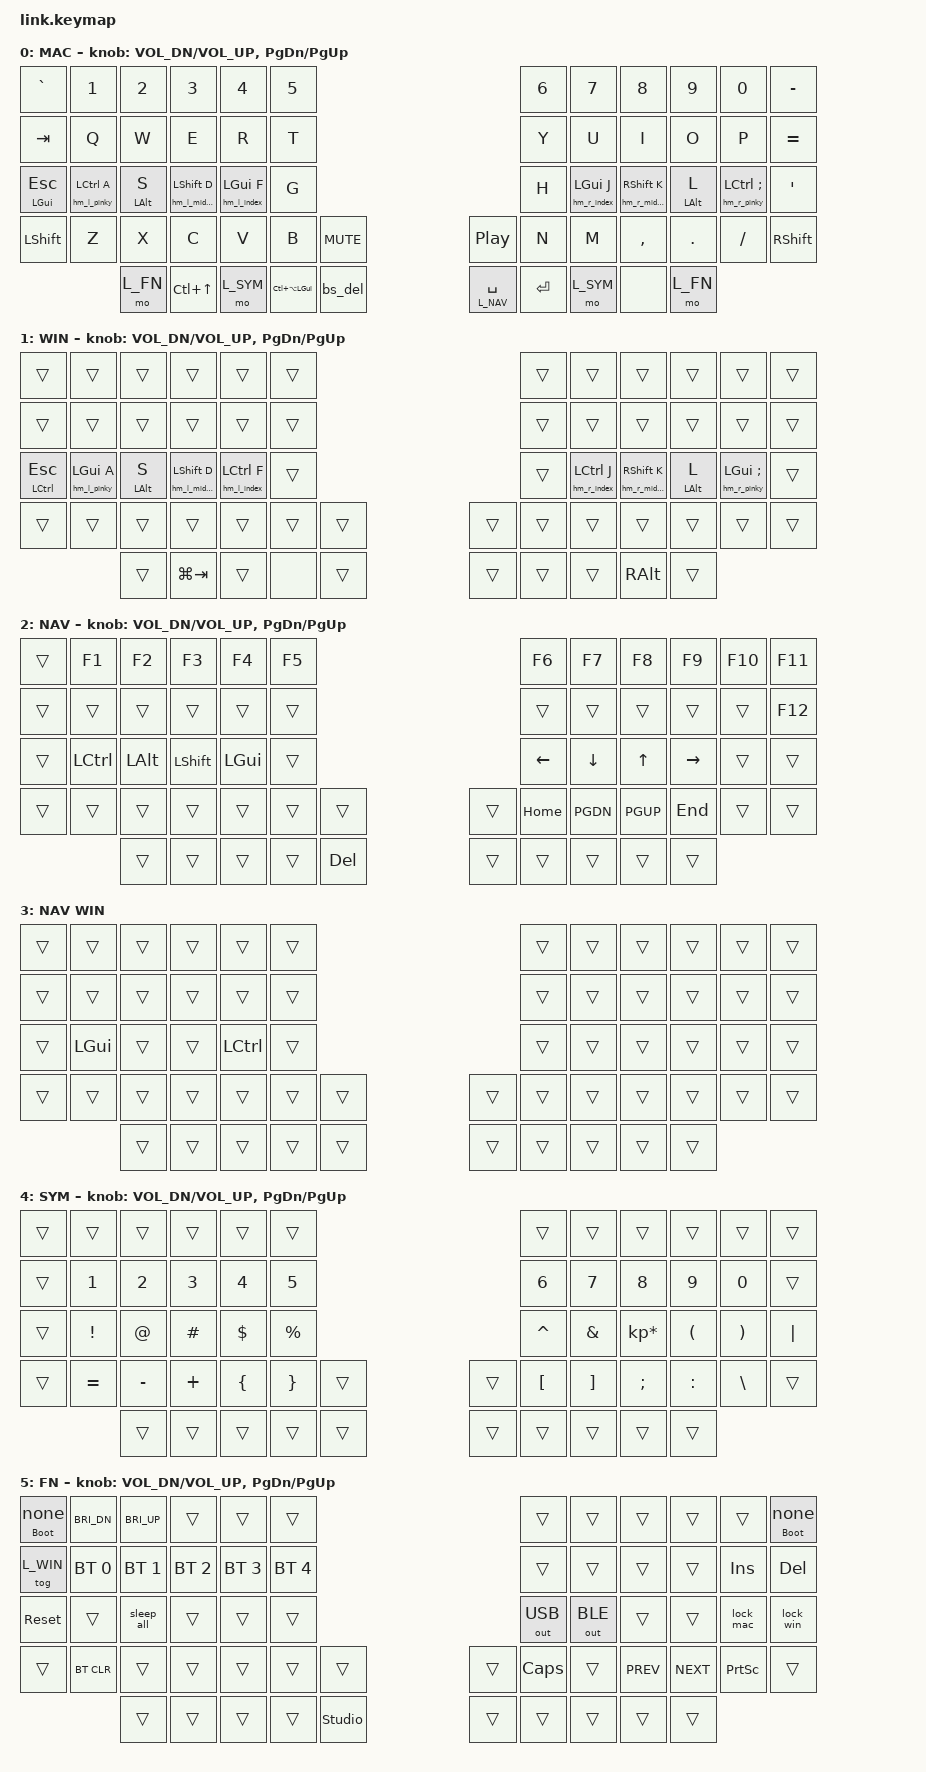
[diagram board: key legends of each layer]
/*
 * Copyright (c) 2020 The ZMK Contributors
 *
 * SPDX-License-Identifier: MIT
 */

#include <behaviors.dtsi>
#include <dt-bindings/zmk/keys.h>
#include <dt-bindings/zmk/bt.h>
#include <dt-bindings/zmk/outputs.h>

// Layer indices. A higher index wins; &trans falls through to the layer below.
// MAC (default layer, always active) is the base. WIN sits directly above it and
// only overrides OS-dependent keys; every other position falls through to MAC.
// NAV_WIN is never selected by a key: it is on while WIN and NAV are both on
// (see conditional_layers).
#define L_MAC     0
#define L_WIN     1
#define L_NAV     2
#define L_NAV_WIN 3
#define L_SYM     4
#define L_FN      5

// Key positions for positional hold-taps (indices into the bindings lists).
#define POS_LEFT   0 1 2 3 4 5 12 13 14 15 16 17 24 25 26 27 28 29 36 37 38 39 40 41
#define POS_RIGHT  6 7 8 9 10 11 18 19 20 21 22 23 30 31 32 33 34 35 44 45 46 47 48 49
#define POS_THUMBS 50 51 52 53 54 55 56 57 58 59
#define POS_ENCODERS 42 43

// Keys that may turn a home row mod into a hold, mirroring QMK Chordal Hold: the other hand
// and the keys QMK marks '*' (thumbs, here also the encoder clicks).
#define HRM_TRIGGERS_L POS_RIGHT POS_THUMBS POS_ENCODERS
#define HRM_TRIGGERS_R POS_LEFT POS_THUMBS POS_ENCODERS

// Properties shared by every home row mod. Flavor, term, typing guard and trigger positions
// are set per node below. hold-trigger-on-release judges the first key *released* while the
// mod is undecided, like QMK Chordal Hold on a nested tap: a same-hand key (J, then K tapped)
// gives taps, while same-side mods still stack (hold D+F, tap J = Shift+Cmd+J). Unlike QMK, a
// same-hand key still held when the term ends gives the hold. No retro-tap: it would hold
// back the mod after the term, so mod + mouse click would not work.
#define HRM_COMMON \
    compatible = "zmk,behavior-hold-tap"; \
    bindings = <&kp>, <&kp>; \
    quick-tap-ms = <175>; \
    hold-trigger-on-release;

#define LINK_MEGA &kp LC(LA(LGUI))
#define LINK_STUDIO &studio_unlock
#define LINK_MULT &kp KP_MULTIPLY
#define LINK_BT1 &bt BT_SEL 0
#define LINK_BT2 &bt BT_SEL 1
#define LINK_BT3 &bt BT_SEL 2
#define LINK_BT4 &bt BT_SEL 3
#define LINK_BT5 &bt BT_SEL 4
#define LINK_USB &out OUT_USB
#define LINK_BLE &out OUT_BLE
#define LINK_BRI_DN &kp C_BRI_DN
#define LINK_BRI_UP &kp C_BRI_UP
#define LINK_SPC &lt_spc L_NAV SPACE
#define LINK_BOOT &boot_hold 0 0

// Home row mods and the Esc key on the Caps Lock position. Shared by MAC and WIN where the
// modifier is the same (S, D, K, L); otherwise _M is MAC (Mac order) and _W is WIN.
#define LINK_ESC_M &mt LGUI ESC
#define LINK_ESC_W &mt LCTRL ESC
#define LINK_A_M &hm_l_pinky LCTRL A
#define LINK_A_W &hm_l_pinky LGUI A
#define LINK_S &hm_l_ring LALT S
#define LINK_D &hm_l_middle LSHFT D
#define LINK_F_M &hm_l_index LGUI F
#define LINK_F_W &hm_l_index LCTRL F
#define LINK_J_M &hm_r_index LGUI J
#define LINK_J_W &hm_r_index LCTRL J
#define LINK_K &hm_r_middle RSHFT K
#define LINK_L &hm_r_ring LALT L
#define LINK_SC_M &hm_r_pinky LCTRL SEMI
#define LINK_SC_W &hm_r_pinky LGUI SEMI

// Caps Word as close to the QMK boards as stock ZMK v0.3 allows. Letters are shifted;
// digits, Backspace, Delete and minus keep it on, with or without either Shift, so
// `_` (Shift + minus) continues as on QMK. Any other key ends it.
// Not reproducible without a ZMK fork: QMK shifts a plain `-` to `_`
// (and CAPS_WORD_INVERT_ON_SHIFT unshifts letters and `-`), ends Caps Word on
// Ctrl/Alt/GUI chords and after 5 s idle.
&caps_word {
    continue-list = <MINUS BACKSPACE DELETE>;
};

/ {
    // QMK-style home row mods. Usage: &hm_<hand>_<finger> <hold keycode> <tap keycode>.
    // Mirrors the QMK boards' per-finger settings: index and middle 200 ms with permissive
    // hold (ZMK balanced); ring 300 ms and pinky 400 ms without it (ZMK tap-preferred: hold
    // only after the term). require-prior-idle-ms is QMK's 150 ms flow tap, left off the middle
    // (Shift) fingers as in QMK's is_flow_tap_key.
    behaviors {
        hm_l_pinky: hm_l_pinky {
            HRM_COMMON
            #binding-cells = <2>;
            flavor = "tap-preferred";
            tapping-term-ms = <400>;
            require-prior-idle-ms = <150>;
            hold-trigger-key-positions = <HRM_TRIGGERS_L>;
        };
        hm_l_ring: hm_l_ring {
            HRM_COMMON
            #binding-cells = <2>;
            flavor = "tap-preferred";
            tapping-term-ms = <300>;
            require-prior-idle-ms = <150>;
            hold-trigger-key-positions = <HRM_TRIGGERS_L>;
        };
        hm_l_middle: hm_l_middle {
            HRM_COMMON
            #binding-cells = <2>;
            flavor = "balanced";
            tapping-term-ms = <200>;
            hold-trigger-key-positions = <HRM_TRIGGERS_L>;
        };
        hm_l_index: hm_l_index {
            HRM_COMMON
            #binding-cells = <2>;
            flavor = "balanced";
            tapping-term-ms = <200>;
            require-prior-idle-ms = <150>;
            hold-trigger-key-positions = <HRM_TRIGGERS_L>;
        };

        hm_r_index: hm_r_index {
            HRM_COMMON
            #binding-cells = <2>;
            flavor = "balanced";
            tapping-term-ms = <200>;
            require-prior-idle-ms = <150>;
            hold-trigger-key-positions = <HRM_TRIGGERS_R>;
        };
        hm_r_middle: hm_r_middle {
            HRM_COMMON
            #binding-cells = <2>;
            flavor = "balanced";
            tapping-term-ms = <200>;
            hold-trigger-key-positions = <HRM_TRIGGERS_R>;
        };
        hm_r_ring: hm_r_ring {
            HRM_COMMON
            #binding-cells = <2>;
            flavor = "tap-preferred";
            tapping-term-ms = <300>;
            require-prior-idle-ms = <150>;
            hold-trigger-key-positions = <HRM_TRIGGERS_R>;
        };
        hm_r_pinky: hm_r_pinky {
            HRM_COMMON
            #binding-cells = <2>;
            flavor = "tap-preferred";
            tapping-term-ms = <400>;
            require-prior-idle-ms = <150>;
            hold-trigger-key-positions = <HRM_TRIGGERS_R>;
        };

        // QMK SLP: lock the host. Single modifier-chord keycodes, so the host
        // sees a real chord. On FN: the left key locks macOS, the right one Windows.
        lock_win: lock_win {
            compatible = "zmk,behavior-macro";
            #binding-cells = <0>;
            bindings = <&kp LG(L)>;
        };
        lock_mac: lock_mac {
            compatible = "zmk,behavior-macro";
            #binding-cells = <0>;
            bindings = <&kp LC(LG(Q))>;
        };

        // Shift + Backspace = Delete (either Shift, including the home row Shift mods).
        // keep-mods is deliberately omitted so Shift is not forwarded: Shift+Delete is
        // "delete permanently" in Windows Explorer.
        bs_del: backspace_delete {
            compatible = "zmk,behavior-mod-morph";
            #binding-cells = <0>;
            bindings = <&kp BSPC>, <&kp DEL>;
            mods = <(MOD_LSFT|MOD_RSFT)>;
        };

        // Space on tap, NAV on hold. balanced: another key pressed and released while Space is
        // down selects NAV (QMK: LT(layer, KC_SPC) with PERMISSIVE_HOLD). No typing guard and no
        // positional check on Space (QMK marks the thumbs '*'). retro-tap: held alone and
        // released, it still types a space (QMK RETRO_TAPPING).
        lt_spc: lt_spc {
            compatible = "zmk,behavior-hold-tap";
            #binding-cells = <2>;
            bindings = <&mo>, <&kp>;
            flavor = "balanced";
            tapping-term-ms = <200>;
            quick-tap-ms = <175>;
            retro-tap;
        };

        // Bootloader behind a 2 s hold; a shorter press does nothing. tap-preferred, so only
        // the timer can trigger it, never another key. The hold-tap passes on which half the
        // key is on, so each key puts its own half into the bootloader (the right half only
        // while it is connected to the left). The parameters are unused: &boot_hold 0 0.
        boot_hold: boot_hold {
            compatible = "zmk,behavior-hold-tap";
            #binding-cells = <2>;
            bindings = <&bootloader>, <&none>;
            flavor = "tap-preferred";
            tapping-term-ms = <2000>;
        };

        // Deep sleep for both halves. &soft_off is the one stock behavior that acts on both
        // halves at once (the right half on its press, the left on its release). It is sent
        // by this macro 1 s after the key is let go, not by the key itself: by then FN and
        // every other key is up, so no half powers off with a key held (a held key would wake
        // it again at once) and nothing depends on key releases from a half that is already
        // off. tap-ms leaves time for the command to reach the right half.
        sleep_all: sleep_all {
            compatible = "zmk,behavior-macro";
            #binding-cells = <0>;
            tap-ms = <200>;
            bindings = <&macro_pause_for_release>, <&macro_wait_time 1000>,
                       <&macro_tap &soft_off>;
        };
    };

    combos {
        compatible = "zmk,combos";

        // Both Shifts together turn on Caps Word (QMK: BOTH_SHIFTS_TURNS_ON_CAPS_WORD).
        combo_caps_word {
            bindings = <&caps_word>;
            key-positions = <36 49>;
            timeout-ms = <30>;
            require-prior-idle-ms = <150>;
        };
    };

    keymap {
        compatible = "zmk,keymap";

        // Default layer. The home row carries the modifiers (Ctrl, Option, Shift, Cmd | Cmd,
        // Shift, Option, Ctrl), so the thumbs carry none. Thumb row, mirrored around the two big
        // inner keys: Backspace (Shift = Delete) and Space (hold = NAV); then MEGA (holds
        // Ctrl+Option+Cmd, no tap, for workspace switching with the left hand: 1-5, Q-T, A-G,
        // Z-B) and Enter; SYM on both hands; the window overview (Mission Control, Ctrl+Up) and
        // an unused key; FN on both outer keys. Esc on tap, Cmd on hold left of A. `=` sits
        // right of P.
        mac_layer {
            display-name = "MAC";
// |      `      |      1      |      2      |      3      |      4      |      5      |                                                                     |      6      |      7      |      8      |      9      |      0      |      -      |
// |     TAB     |      Q      |      W      |      E      |      R      |      T      |                                                                     |      Y      |      U      |      I      |      O      |      P      |      =      |
// |  ESC/LGUI   |   A/LCTL    |    S/ALT    |   D/SHIFT   |   F/LGUI    |      G      |                                                                     |      H      |   J/LGUI    |   K/SHIFT   |    L/ALT    |   ;/LCTL    |      '      |
// |    SHIFT    |      Z      |      X      |      C      |      V      |      B      |    MUTE     |                                         |    PLAY     |      N      |      M      |      ,      |      .      |      /      |    SHIFT    |
//                             |     FN      | MISSION CTL |     SYM     |    MEGA     |  BKSPC/DEL  |                                         |  SPACE/NAV  |    ENTER    |     SYM     |    NONE     |     FN      |
            bindings =
     <&kp GRAVE> ,  <&kp N1>   ,  <&kp N2>   ,  <&kp N3>   ,  <&kp N4>   ,  <&kp N5>   ,                                                                        <&kp N6>   ,  <&kp N7>   ,  <&kp N8>   ,  <&kp N9>   ,  <&kp N0>   , <&kp MINUS> ,
      <&kp TAB>  ,   <&kp Q>   ,   <&kp W>   ,   <&kp E>   ,   <&kp R>   ,   <&kp T>   ,                                                                         <&kp Y>   ,   <&kp U>   ,   <&kp I>   ,   <&kp O>   ,   <&kp P>   , <&kp EQUAL> ,
    <LINK_ESC_M> , <LINK_A_M>  ,  <LINK_S>   ,  <LINK_D>   , <LINK_F_M>  ,   <&kp G>   ,                                                                         <&kp H>   , <LINK_J_M>  ,  <LINK_K>   ,  <LINK_L>   , <LINK_SC_M> , <&kp APOS>  ,
     <&kp LSHFT> ,   <&kp Z>   ,   <&kp X>   ,   <&kp C>   ,   <&kp V>   ,   <&kp B>   ,<&kp C_MUTE> ,                                           <&kp C_PP>  ,   <&kp N>   ,   <&kp M>   , <&kp COMMA> ,  <&kp DOT>  , <&kp FSLH>  , <&kp RSHFT> ,
                                 <&mo L_FN>  ,<&kp LC(UP)> , <&mo L_SYM> , <LINK_MEGA> ,  <&bs_del>  ,                                           <LINK_SPC>  ,  <&kp RET>  , <&mo L_SYM> ,   <&none>   , <&mo L_FN>  ;

            sensor-bindings = <&inc_dec_kp C_VOL_DN C_VOL_UP &inc_dec_kp PG_DN PG_UP>;
        };

        // Toggled on top of MAC for Windows/Linux. Only OS-dependent keys are overridden: home
        // row mods in Windows order (GUI, Alt, Shift, Ctrl | Ctrl, Shift, Alt, GUI), Esc/Ctrl
        // left of A, Task View (Win+Tab) as the window overview, nothing on the MEGA key (no
        // Windows counterpart yet), and Right Alt (AltGr) on the key that is unused on MAC.
        // Everything else falls through to MAC.
        win_layer {
            display-name = "WIN";
// |             |             |             |             |             |             |                                                                     |             |             |             |             |             |             |
// |             |             |             |             |             |             |                                                                     |             |             |             |             |             |             |
// |  ESC/LCTL   |   A/LGUI    |             |             |   F/LCTL    |             |                                                                     |             |   J/LCTL    |             |             |   ;/LGUI    |             |
// |             |             |             |             |             |             |             |                                         |             |             |             |             |             |             |             |
//                             |             |  TASK VIEW  |             |    NONE     |             |                                         |             |             |             |    RALT     |             |
            bindings =
      <&trans>   ,  <&trans>   ,  <&trans>   ,  <&trans>   ,  <&trans>   ,  <&trans>   ,                                                                        <&trans>   ,  <&trans>   ,  <&trans>   ,  <&trans>   ,  <&trans>   ,  <&trans>   ,
      <&trans>   ,  <&trans>   ,  <&trans>   ,  <&trans>   ,  <&trans>   ,  <&trans>   ,                                                                        <&trans>   ,  <&trans>   ,  <&trans>   ,  <&trans>   ,  <&trans>   ,  <&trans>   ,
    <LINK_ESC_W> , <LINK_A_W>  ,  <LINK_S>   ,  <LINK_D>   , <LINK_F_W>  ,  <&trans>   ,                                                                        <&trans>   , <LINK_J_W>  ,  <LINK_K>   ,  <LINK_L>   , <LINK_SC_W> ,  <&trans>   ,
      <&trans>   ,  <&trans>   ,  <&trans>   ,  <&trans>   ,  <&trans>   ,  <&trans>   ,  <&trans>   ,                                            <&trans>   ,  <&trans>   ,  <&trans>   ,  <&trans>   ,  <&trans>   ,  <&trans>   ,  <&trans>   ,
                                  <&trans>   ,<&kp LG(TAB)>,  <&trans>   ,   <&none>   ,  <&trans>   ,                                            <&trans>   ,  <&trans>   ,  <&trans>   , <&kp RALT>  ,  <&trans>   ;

            sensor-bindings = <&inc_dec_kp C_VOL_DN C_VOL_UP &inc_dec_kp PG_DN PG_UP>;
        };

        // Hold Space. QMK Space layer: arrows on H J K L (Vim order: left, down, up, right),
        // F1-F12 on the number row (F12 right of P), Delete on Backspace, plus
        // Home/PgDn/PgUp/End below the arrows in the same order.
        // The left home row holds plain modifiers in the home row mod order (Ctrl, Option,
        // Shift, Cmd), without a tapping term: Space + A + H is Ctrl+Left at once, and the same
        // keys give an instant modifier for mouse clicks or Tab.
        nav_layer {
            display-name = "NAV";
// |             |     F1      |     F2      |     F3      |     F4      |     F5      |                                                                     |     F6      |     F7      |     F8      |     F9      |     F10     |     F11     |
// |             |             |             |             |             |             |                                                                     |             |             |             |             |             |     F12     |
// |             |    LCTL     |     ALT     |    SHIFT    |    LGUI     |             |                                                                     |     <-      |      v      |      ^      |     ->      |             |             |
// |             |             |             |             |             |             |             |                                         |             |    HOME     |    PGDN     |    PGUP     |     END     |             |             |
//                             |             |             |             |             |     DEL     |                                         |             |             |             |             |             |
            bindings =
      <&trans>   ,  <&kp F1>   ,  <&kp F2>   ,  <&kp F3>   ,  <&kp F4>   ,  <&kp F5>   ,                                                                        <&kp F6>   ,  <&kp F7>   ,  <&kp F8>   ,  <&kp F9>   ,  <&kp F10>  ,  <&kp F11>  ,
      <&trans>   ,  <&trans>   ,  <&trans>   ,  <&trans>   ,  <&trans>   ,  <&trans>   ,                                                                        <&trans>   ,  <&trans>   ,  <&trans>   ,  <&trans>   ,  <&trans>   ,  <&kp F12>  ,
      <&trans>   , <&kp LCTRL> , <&kp LALT>  , <&kp LSHFT> , <&kp LGUI>  ,  <&trans>   ,                                                                       <&kp LEFT>  , <&kp DOWN>  ,  <&kp UP>   , <&kp RIGHT> ,  <&trans>   ,  <&trans>   ,
      <&trans>   ,  <&trans>   ,  <&trans>   ,  <&trans>   ,  <&trans>   ,  <&trans>   ,  <&trans>   ,                                            <&trans>   , <&kp HOME>  , <&kp PGDN>  , <&kp PGUP>  ,  <&kp END>  ,  <&trans>   ,  <&trans>   ,
                                  <&trans>   ,  <&trans>   ,  <&trans>   ,  <&trans>   ,  <&kp DEL>  ,                                            <&trans>   ,  <&trans>   ,  <&trans>   ,  <&trans>   ,  <&trans>   ;

            sensor-bindings = <&inc_dec_kp C_VOL_DN C_VOL_UP &inc_dec_kp PG_DN PG_UP>;
        };

        // On while WIN and NAV are both on: the NAV modifiers in Windows order (GUI, Alt,
        // Shift, Ctrl). Only A and F differ from NAV. No sensor-bindings: the encoders fall
        // through to NAV.
        nav_win_layer {
            display-name = "NAV WIN";
// |             |             |             |             |             |             |                                                                     |             |             |             |             |             |             |
// |             |             |             |             |             |             |                                                                     |             |             |             |             |             |             |
// |             |    LGUI     |             |             |    LCTL     |             |                                                                     |             |             |             |             |             |             |
// |             |             |             |             |             |             |             |                                         |             |             |             |             |             |             |             |
//                             |             |             |             |             |             |                                         |             |             |             |             |             |
            bindings =
      <&trans>   ,  <&trans>   ,  <&trans>   ,  <&trans>   ,  <&trans>   ,  <&trans>   ,                                                                        <&trans>   ,  <&trans>   ,  <&trans>   ,  <&trans>   ,  <&trans>   ,  <&trans>   ,
      <&trans>   ,  <&trans>   ,  <&trans>   ,  <&trans>   ,  <&trans>   ,  <&trans>   ,                                                                        <&trans>   ,  <&trans>   ,  <&trans>   ,  <&trans>   ,  <&trans>   ,  <&trans>   ,
      <&trans>   , <&kp LGUI>  ,  <&trans>   ,  <&trans>   , <&kp LCTRL> ,  <&trans>   ,                                                                        <&trans>   ,  <&trans>   ,  <&trans>   ,  <&trans>   ,  <&trans>   ,  <&trans>   ,
      <&trans>   ,  <&trans>   ,  <&trans>   ,  <&trans>   ,  <&trans>   ,  <&trans>   ,  <&trans>   ,                                            <&trans>   ,  <&trans>   ,  <&trans>   ,  <&trans>   ,  <&trans>   ,  <&trans>   ,  <&trans>   ,
                                  <&trans>   ,  <&trans>   ,  <&trans>   ,  <&trans>   ,  <&trans>   ,                                            <&trans>   ,  <&trans>   ,  <&trans>   ,  <&trans>   ,  <&trans>   ;
        };

        // Hold either SYM key (52, 57). Digits and symbols.
        sym_layer {
            display-name = "SYM";
// |             |             |             |             |             |             |                                                                     |             |             |             |             |             |             |
// |             |      1      |      2      |      3      |      4      |      5      |                                                                     |      6      |      7      |      8      |      9      |      0      |             |
// |             |      !      |      @      |      #      |      $      |      %      |                                                                     |      ^      |      &      |      *      |      (      |      )      |      |      |
// |             |      =      |      -      |      +      |      {      |      }      |             |                                         |             |      [      |      ]      |      ;      |      :      |      \      |             |
//                             |             |             |             |             |             |                                         |             |             |             |             |             |
            bindings =
      <&trans>   ,  <&trans>   ,  <&trans>   ,  <&trans>   ,  <&trans>   ,  <&trans>   ,                                                                        <&trans>   ,  <&trans>   ,  <&trans>   ,  <&trans>   ,  <&trans>   ,  <&trans>   ,
      <&trans>   ,  <&kp N1>   ,  <&kp N2>   ,  <&kp N3>   ,  <&kp N4>   ,  <&kp N5>   ,                                                                        <&kp N6>   ,  <&kp N7>   ,  <&kp N8>   ,  <&kp N9>   ,  <&kp N0>   ,  <&trans>   ,
      <&trans>   , <&kp EXCL>  ,  <&kp AT>   , <&kp HASH>  , <&kp DLLR>  , <&kp PRCNT> ,                                                                       <&kp CARET> , <&kp AMPS>  , <LINK_MULT> , <&kp LPAR>  , <&kp RPAR>  , <&kp PIPE>  ,
      <&trans>   , <&kp EQUAL> , <&kp MINUS> , <&kp PLUS>  , <&kp LBRC>  , <&kp RBRC>  ,  <&trans>   ,                                            <&trans>   , <&kp LBKT>  , <&kp RBKT>  , <&kp SEMI>  , <&kp COLON> , <&kp BSLH>  ,  <&trans>   ,
                                  <&trans>   ,  <&trans>   ,  <&trans>   ,  <&trans>   ,  <&trans>   ,                                            <&trans>   ,  <&trans>   ,  <&trans>   ,  <&trans>   ,  <&trans>   ;

            sensor-bindings = <&inc_dec_kp C_VOL_DN C_VOL_UP &inc_dec_kp PG_DN PG_UP>;
        };

        // Hold either FN key (50, 59). Like Fn on the QMK boards: FN + Tab flips between MAC and
        // WIN. Brightness on 1/2, Bluetooth profiles and clear, USB/BLE output, per-OS lock keys
        // (M:LOCK = Ctrl+Cmd+Q, W:LOCK = Win+L), media, Caps Lock, Print Screen, Insert/Delete,
        // Studio unlock. The top corners, held for 2 s, put their own half into the bootloader;
        // with the FN key on 50 the left half can do that without the right half.
        // FN + Esc soft-resets the left half at once, which holds all key and layer state (a
        // reset key only acts on its own half, so there is none for both). FN + S puts both
        // halves into deep sleep 1 s after it is released; any key on a half wakes, and thereby
        // restarts, that half.
        fn_layer {
            display-name = "FN";
// |   L:BOOT    |    BRI-     |    BRI+     |             |             |             |                                                                     |             |             |             |             |             |   R:BOOT    |
// |   TG WIN    |     BT1     |     BT2     |     BT3     |     BT4     |     BT5     |                                                                     |             |             |             |             |     INS     |     DEL     |
// |   L:RESET   |             |    SLEEP    |             |             |             |                                                                     |     USB     |     BLE     |             |             |   M:LOCK    |   W:LOCK    |
// |             |    BTCLR    |             |             |             |             |             |                                         |             |    CAPS     |             |    PREV     |    NEXT     |    PSCR     |             |
//                             |             |             |             |             |  ST.ULOCK   |                                         |             |             |             |             |             |
            bindings =
     <LINK_BOOT> ,<LINK_BRI_DN>,<LINK_BRI_UP>,  <&trans>   ,  <&trans>   ,  <&trans>   ,                                                                        <&trans>   ,  <&trans>   ,  <&trans>   ,  <&trans>   ,  <&trans>   , <LINK_BOOT> ,
    <&tog L_WIN> , <LINK_BT1>  , <LINK_BT2>  , <LINK_BT3>  , <LINK_BT4>  , <LINK_BT5>  ,                                                                        <&trans>   ,  <&trans>   ,  <&trans>   ,  <&trans>   ,  <&kp INS>  ,  <&kp DEL>  ,
    <&sys_reset> ,  <&trans>   ,<&sleep_all> ,  <&trans>   ,  <&trans>   ,  <&trans>   ,                                                                       <LINK_USB>  , <LINK_BLE>  ,  <&trans>   ,  <&trans>   , <&lock_mac> , <&lock_win> ,
      <&trans>   ,<&bt BT_CLR> ,  <&trans>   ,  <&trans>   ,  <&trans>   ,  <&trans>   ,  <&trans>   ,                                            <&trans>   , <&kp CAPS>  ,  <&trans>   ,<&kp C_PREV> ,<&kp C_NEXT> , <&kp PSCRN> ,  <&trans>   ,
                                  <&trans>   ,  <&trans>   ,  <&trans>   ,  <&trans>   ,<LINK_STUDIO>,                                            <&trans>   ,  <&trans>   ,  <&trans>   ,  <&trans>   ,  <&trans>   ;

            sensor-bindings = <&inc_dec_kp C_VOL_DN C_VOL_UP &inc_dec_kp PG_DN PG_UP>;
        };
    };
};

/ {
    conditional_layers {
        compatible = "zmk,conditional-layers";

        nav_win {
            if-layers = <L_WIN L_NAV>;
            then-layer = <L_NAV_WIN>;
        };
    };

    // &soft_off alone leaves only the reset button to turn a half back on. With the key matrix
    // as its wakeup source it is a deep sleep on demand: any key wakes that half.
    soft_off_wakers {
        compatible = "zmk,soft-off-wakeup-sources";
        wakeup-sources = <&kscan0>;
    };
};
